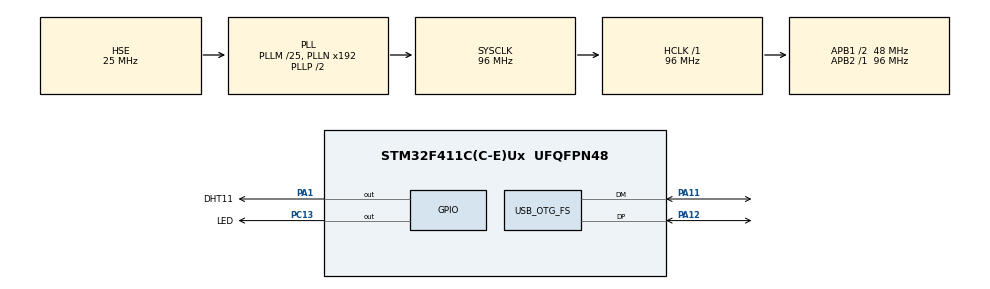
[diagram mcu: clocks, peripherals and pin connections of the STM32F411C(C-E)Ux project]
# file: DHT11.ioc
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Mcu.Family=STM32F4
Mcu.Name=STM32F411C(C-E)Ux
Mcu.Package=UFQFPN48
NVIC.OTG_FS_IRQn=true\:0\:0\:false\:false\:true\:false\:true\:true
NVIC.PriorityGroup=NVIC_PRIORITYGROUP_4
PA1.GPIO_Label=DHT11
PA1.Signal=GPIO_Output
PA11.Mode=Device_Only
PA11.Signal=USB_OTG_FS_DM
PA12.Mode=Device_Only
PA12.Signal=USB_OTG_FS_DP
PC13-ANTI_TAMP.GPIO_Label=LED
PC13-ANTI_TAMP.Signal=GPIO_Output
PH0\ -\ OSC_IN.Mode=HSE-External-Oscillator
PH0\ -\ OSC_IN.Signal=RCC_OSC_IN
PH1\ -\ OSC_OUT.Mode=HSE-External-Oscillator
PH1\ -\ OSC_OUT.Signal=RCC_OSC_OUT
ProjectManager.HeapSize=0x200
ProjectManager.StackSize=0x400
ProjectManager.TargetToolchain=STM32CubeIDE
RCC.48MHZClocksFreq_Value=48000000
RCC.AHBFreq_Value=96000000
RCC.APB1CLKDivider=RCC_HCLK_DIV2
RCC.APB1Freq_Value=48000000
RCC.APB1TimFreq_Value=96000000
RCC.APB2Freq_Value=96000000
RCC.APB2TimFreq_Value=96000000
RCC.CortexFreq_Value=96000000
RCC.HCLKFreq_Value=96000000
RCC.HSE_VALUE=25000000
RCC.HSI_VALUE=16000000
RCC.LSE_VALUE=32768
RCC.PLLM=25
RCC.SYSCLKFreq_VALUE=96000000
RCC.SYSCLKSource=RCC_SYSCLKSOURCE_PLLCLK
RCC.VCOOutputFreq_Value=192000000
TIM4.AutoReloadPreload=TIM_AUTORELOAD_PRELOAD_ENABLE
TIM4.Prescaler=95
USB_DEVICE.CLASS_NAME_FS=CDC
USB_DEVICE.VirtualMode=Cdc
USB_DEVICE.VirtualModeFS=Cdc_FS
USB_OTG_FS.VirtualMode=Device_Only
VP_TIM4_VS_ClockSourceINT.Mode=Internal
VP_USB_DEVICE_VS_USB_DEVICE_CDC_FS.Mode=CDC_FS
board=custom

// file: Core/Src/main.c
/* USER CODE BEGIN Header */
/**
 ******************************************************************************
 * @file           : main.c
 * @brief          : Main program body
 ******************************************************************************
 * @attention
 *
 * Copyright (c) 2024 STMicroelectronics.
 * All rights reserved.
 *
 * This software is licensed under terms that can be found in the LICENSE file
 * in the root directory of this software component.
 * If no LICENSE file comes with this software, it is provided AS-IS.
 *
 ******************************************************************************
 */
/* USER CODE END Header */
#include "main.h"
#include "usb_device.h"

/* USER CODE BEGIN Includes */
#include "string.h"
#include "usbd_cdc_if.h"

/* USER CODE END Includes */

/* USER CODE BEGIN PD */
#define BUFFER_LENGTH 64
#define SOL_INTERVAL 1000	//Sign of Life: Host drops connection if data is not received periodicallyLED

#define DHT11_PORT GPIOA
#define DHT11_PIN GPIO_PIN_1
/* USER CODE END PD */

TIM_HandleTypeDef htim4;

/* USER CODE BEGIN PV */
char buffer[BUFFER_LENGTH];

uint8_t Rh_byte1, Rh_byte2, Temp_byte1, Temp_byte2;
uint16_t SUM, RH, TEMP;

float Temperature = 0;
float Humidity = 0;
uint8_t Presence = 0;

/* USER CODE END PV */

void SystemClock_Config(void);
static void MX_GPIO_Init(void);
static void MX_TIM4_Init(void);

/* USER CODE BEGIN 0 */
void delay(uint16_t time) {
	/* change your code here for the delay in microseconds */
	__HAL_TIM_SET_COUNTER(&htim4, 0);
	while ((__HAL_TIM_GET_COUNTER(&htim4)) < time)
		;
}

uint8_t is_cleared(char *buffer) {
	for (uint8_t i = 0; i < BUFFER_LENGTH; i++) {
		if (buffer[i] != '\0') {
			return 0;  // Buffer is not cleared
		}
	}
	return 1;  // Buffer is cleared
}

void Set_Pin_Output(GPIO_TypeDef *GPIOx, uint16_t GPIO_Pin) {
	GPIO_InitTypeDef GPIO_InitStruct = { 0 };
	GPIO_InitStruct.Pin = GPIO_Pin;
	GPIO_InitStruct.Mode = GPIO_MODE_OUTPUT_PP;
	GPIO_InitStruct.Speed = GPIO_SPEED_FREQ_LOW;
	HAL_GPIO_Init(GPIOx, &GPIO_InitStruct);
}

void Set_Pin_Input(GPIO_TypeDef *GPIOx, uint16_t GPIO_Pin) {
	GPIO_InitTypeDef GPIO_InitStruct = { 0 };
	GPIO_InitStruct.Pin = GPIO_Pin;
	GPIO_InitStruct.Mode = GPIO_MODE_INPUT;
	GPIO_InitStruct.Pull = GPIO_PULLUP;
	HAL_GPIO_Init(GPIOx, &GPIO_InitStruct);
}

void DHT11_Start(void) {
	Set_Pin_Output(DHT11_PORT, DHT11_PIN);  // set the pin as output
	HAL_GPIO_WritePin(DHT11_PORT, DHT11_PIN, 0);   // pull the pin low
	delay(18000);   // wait for 18ms
	Set_Pin_Input(DHT11_PORT, DHT11_PIN);    // set as input
}

uint8_t Check_Response(void) {
	uint8_t Response = 0;
	delay(40);
	if (!(HAL_GPIO_ReadPin(DHT11_PORT, DHT11_PIN))) {
		delay(80);
		if ((HAL_GPIO_ReadPin(DHT11_PORT, DHT11_PIN)))
			Response = 1;
		else
			Response = -1;
	}
	while ((HAL_GPIO_ReadPin(DHT11_PORT, DHT11_PIN)))
		;   // wait for the pin to go low

	return Response;
}

uint8_t DHT11_Check_Response(void) {
	uint8_t Response = 0;
	delay(40);
	if (!(HAL_GPIO_ReadPin(DHT11_PORT, DHT11_PIN))) {
		delay(80);
		if ((HAL_GPIO_ReadPin(DHT11_PORT, DHT11_PIN)))
			Response = 1;
		else
			Response = -1; // 255
	}
	while ((HAL_GPIO_ReadPin(DHT11_PORT, DHT11_PIN)))
		;   // wait for the pin to go low

	return Response;
}

uint8_t DHT11_Read(void) {
	uint8_t i, j;
	for (j = 0; j < 8; j++) {
		while (!(HAL_GPIO_ReadPin(DHT11_PORT, DHT11_PIN)))
			;   // wait for the pin to go high
		delay(40);   // wait for 40 us
		if (!(HAL_GPIO_ReadPin(DHT11_PORT, DHT11_PIN)))   // if the pin is low
		{
			i &= ~(1 << (7 - j));   // write 0
		} else
			i |= (1 << (7 - j));  // if the pin is high, write 1
		while ((HAL_GPIO_ReadPin(DHT11_PORT, DHT11_PIN)))
			;  // wait for the pin to go low
	}
	return i;
}
/* USER CODE END 0 */

int main(void) {

	/* MCU Configuration--------------------------------------------------------*/

	/* Reset of all peripherals, Initializes the Flash interface and the Systick. */
	HAL_Init();

	/* Configure the system clock */
	SystemClock_Config();

	/* Initialize all configured peripherals */
	MX_GPIO_Init();
	MX_USB_DEVICE_Init();
	MX_TIM4_Init();
	/* USER CODE BEGIN 2 */
	HAL_TIM_Base_Start(&htim4);

	/* USER CODE END 2 */

	/* Infinite loop */
	/* USER CODE BEGIN WHILE */
	while (1) {
		char message[BUFFER_LENGTH + 20];

		sprintf(message, "Hello World");
		CDC_Transmit_FS((uint8_t*) message, strlen(message));
		HAL_Delay(1);

//		DHT11_Start();
//		Presence = DHT11_Check_Response();
//		Rh_byte1 = DHT11_Read();
//		Rh_byte2 = DHT11_Read();
//		Temp_byte1 = DHT11_Read();
//		Temp_byte2 = DHT11_Read();
//		SUM = DHT11_Read();

		TEMP = Temp_byte1;
		RH = Rh_byte1;

		Temperature = (float) TEMP;
		Humidity = (float) RH;

		HAL_Delay(3000);
		/* USER CODE END WHILE */

	}
}

void SystemClock_Config(void) {
	RCC_OscInitTypeDef RCC_OscInitStruct = { 0 };
	RCC_ClkInitTypeDef RCC_ClkInitStruct = { 0 };

	/** Configure the main internal regulator output voltage
	 */
	__HAL_RCC_PWR_CLK_ENABLE();
	__HAL_PWR_VOLTAGESCALING_CONFIG(PWR_REGULATOR_VOLTAGE_SCALE1);

	/** Initializes the RCC Oscillators according to the specified parameters
	 * in the RCC_OscInitTypeDef structure.
	 */
	RCC_OscInitStruct.OscillatorType = RCC_OSCILLATORTYPE_HSE;
	RCC_OscInitStruct.HSEState = RCC_HSE_ON;
	RCC_OscInitStruct.PLL.PLLState = RCC_PLL_ON;
	RCC_OscInitStruct.PLL.PLLSource = RCC_PLLSOURCE_HSE;
	RCC_OscInitStruct.PLL.PLLM = 25;
	RCC_OscInitStruct.PLL.PLLN = 192;
	RCC_OscInitStruct.PLL.PLLP = RCC_PLLP_DIV2;
	RCC_OscInitStruct.PLL.PLLQ = 4;
	if (HAL_RCC_OscConfig(&RCC_OscInitStruct) != HAL_OK) {
		Error_Handler();
	}

	/** Initializes the CPU, AHB and APB buses clocks
	 */
	RCC_ClkInitStruct.ClockType = RCC_CLOCKTYPE_HCLK | RCC_CLOCKTYPE_SYSCLK
			| RCC_CLOCKTYPE_PCLK1 | RCC_CLOCKTYPE_PCLK2;
	RCC_ClkInitStruct.SYSCLKSource = RCC_SYSCLKSOURCE_PLLCLK;
	RCC_ClkInitStruct.AHBCLKDivider = RCC_SYSCLK_DIV1;
	RCC_ClkInitStruct.APB1CLKDivider = RCC_HCLK_DIV2;
	RCC_ClkInitStruct.APB2CLKDivider = RCC_HCLK_DIV1;

	if (HAL_RCC_ClockConfig(&RCC_ClkInitStruct, FLASH_LATENCY_3) != HAL_OK) {
		Error_Handler();
	}
}

static void MX_TIM4_Init(void) {

	TIM_ClockConfigTypeDef sClockSourceConfig = { 0 };
	TIM_MasterConfigTypeDef sMasterConfig = { 0 };

	htim4.Instance = TIM4;
	htim4.Init.Prescaler = 95;
	htim4.Init.CounterMode = TIM_COUNTERMODE_UP;
	htim4.Init.Period = 65535;
	htim4.Init.ClockDivision = TIM_CLOCKDIVISION_DIV1;
	htim4.Init.AutoReloadPreload = TIM_AUTORELOAD_PRELOAD_ENABLE;
	if (HAL_TIM_Base_Init(&htim4) != HAL_OK) {
		Error_Handler();
	}
	sClockSourceConfig.ClockSource = TIM_CLOCKSOURCE_INTERNAL;
	if (HAL_TIM_ConfigClockSource(&htim4, &sClockSourceConfig) != HAL_OK) {
		Error_Handler();
	}
	sMasterConfig.MasterOutputTrigger = TIM_TRGO_RESET;
	sMasterConfig.MasterSlaveMode = TIM_MASTERSLAVEMODE_DISABLE;
	if (HAL_TIMEx_MasterConfigSynchronization(&htim4, &sMasterConfig)
			!= HAL_OK) {
		Error_Handler();
	}

}

static void MX_GPIO_Init(void) {
	GPIO_InitTypeDef GPIO_InitStruct = { 0 };

	/* GPIO Ports Clock Enable */
	__HAL_RCC_GPIOC_CLK_ENABLE();
	__HAL_RCC_GPIOH_CLK_ENABLE();
	__HAL_RCC_GPIOA_CLK_ENABLE();

	/*Configure GPIO pin Output Level */
	HAL_GPIO_WritePin(LED_GPIO_Port, LED_Pin, GPIO_PIN_RESET);

	/*Configure GPIO pin Output Level */
	HAL_GPIO_WritePin(DHT11_GPIO_Port, DHT11_Pin, GPIO_PIN_RESET);

	/*Configure GPIO pin : LED_Pin */
	GPIO_InitStruct.Pin = LED_Pin;
	GPIO_InitStruct.Mode = GPIO_MODE_OUTPUT_PP;
	GPIO_InitStruct.Pull = GPIO_NOPULL;
	GPIO_InitStruct.Speed = GPIO_SPEED_FREQ_LOW;
	HAL_GPIO_Init(LED_GPIO_Port, &GPIO_InitStruct);

	/*Configure GPIO pin : DHT11_Pin */
	GPIO_InitStruct.Pin = DHT11_Pin;
	GPIO_InitStruct.Mode = GPIO_MODE_OUTPUT_PP;
	GPIO_InitStruct.Pull = GPIO_NOPULL;
	GPIO_InitStruct.Speed = GPIO_SPEED_FREQ_LOW;
	HAL_GPIO_Init(DHT11_GPIO_Port, &GPIO_InitStruct);

}

void Error_Handler(void) {
	__disable_irq();
	while (1) {
	}
}
